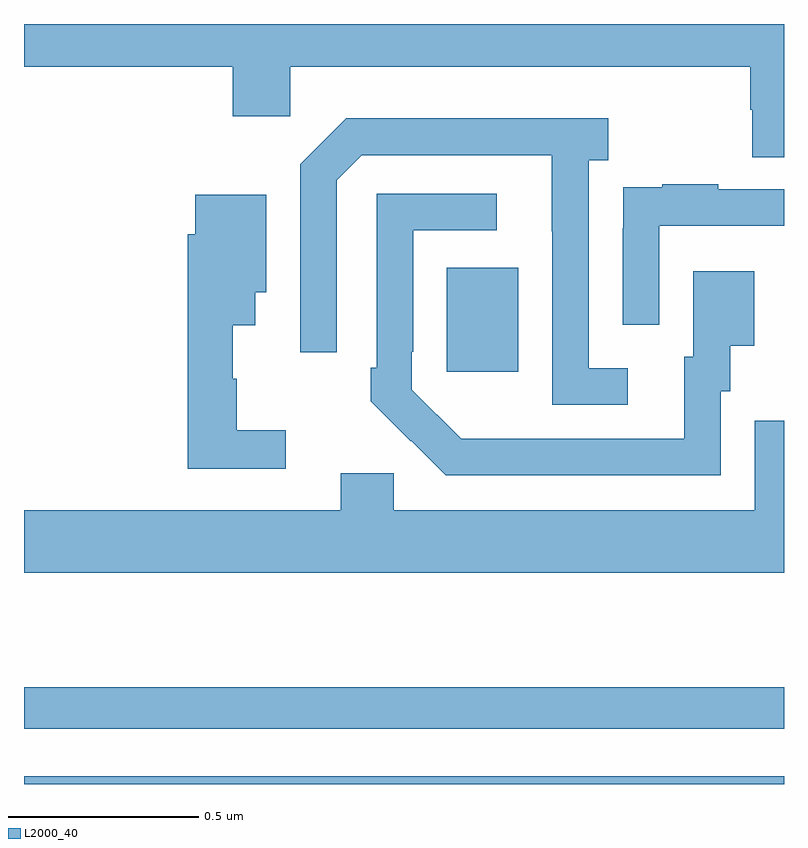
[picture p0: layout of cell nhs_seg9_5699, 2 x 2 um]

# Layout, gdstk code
import gdstk
lib = gdstk.Library(unit=1e-6, precision=1e-09)
def R(c, l, rs):  # rectangles x0, y0, x1, y1
    for r in rs: c.add(gdstk.rectangle(r[:2], r[2:], *l))
def P(c, l, *ps):  # polygons
    for p in ps: c.add(gdstk.Polygon(p, *l))
L2000_40 = (2000, 40)

nhs_seg9_5699 = lib.new_cell('nhs_seg9_5699')
R(nhs_seg9_5699, L2000_40, [(182,1226.5,184,1226.52), (182,1226.646,184,1226.755), (183.113,1227.585,183.301,1227.859)])
P(nhs_seg9_5699, L2000_40, [(184,1228.5),(182,1228.5),(182,1228.388),(182.549,1228.388),(182.549,1228.257),(182.7,1228.257),(182.7,1228.388),(183.911,1228.388),(183.911,1228.275),(183.916,1228.275),(183.916,1228.15),(184,1228.15)],
  [(183.589,1227.594),(183.486,1227.594),(183.486,1228.142),(183.538,1228.142),(183.538,1228.252),(182.848,1228.252),(182.727,1228.131),(182.727,1227.636),(182.823,1227.636),(182.823,1228.089),(182.889,1228.155),(183.389,1228.155),(183.389,1227.955),(183.39,1227.955),(183.39,1227.498),(183.589,1227.498)],
  [(183.672,1227.969),(184,1227.969),(184,1228.065),(183.827,1228.065),(183.827,1228.078),(183.679,1228.078),(183.679,1228.071),(183.577,1228.071),(183.577,1227.962),(183.576,1227.962),(183.576,1227.708),(183.672,1227.708)],
  [(183.834,1227.534),(183.859,1227.534),(183.859,1227.653),(183.922,1227.653),(183.922,1227.85),(183.761,1227.85),(183.761,1227.624),(183.737,1227.624),(183.737,1227.408),(183.253,1227.408),(183.253,1227.409),(183.15,1227.409),(183.021,1227.537),(183.021,1227.637),(183.024,1227.637),(183.024,1227.957),(183.244,1227.957),(183.244,1228.053),(182.928,1228.053),(182.928,1227.595),(182.913,1227.595),(182.913,1227.507),(183.018,1227.402),(183.019,1227.403),(183.11,1227.312),(183.834,1227.312)],
  [(182.689,1227.431),(182.56,1227.431),(182.56,1227.567),(182.549,1227.567),(182.549,1227.707),(182.608,1227.707),(182.608,1227.794),(182.638,1227.794),(182.638,1228.051),(182.45,1228.051),(182.45,1227.947),(182.431,1227.947),(182.431,1227.33),(182.689,1227.33)],
  [(184,1227.456),(183.923,1227.456),(183.923,1227.22),(182.973,1227.22),(182.973,1227.318),(182.834,1227.318),(182.834,1227.22),(182,1227.22),(182,1227.056),(184,1227.056)])

lib.write_gds('nhs_seg9_5699.gds')
